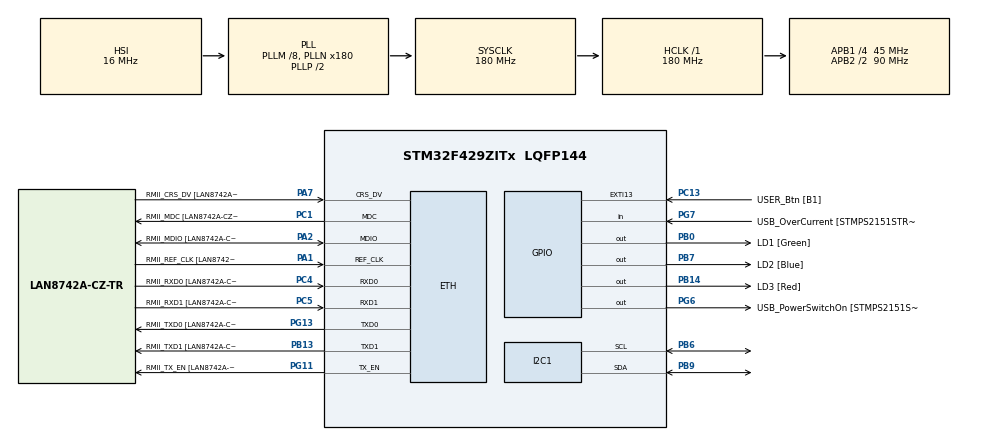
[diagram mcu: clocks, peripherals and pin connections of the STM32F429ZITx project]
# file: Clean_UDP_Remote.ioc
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ETH.MACAddr=00\:80\:E1\:9E\:5C\:C1
ETH.MediaInterface=ETH_MEDIA_INTERFACE_RMII
ETH.PhyAddress=0
LWIP.Version=v2.1.2_Cube
Mcu.Family=STM32F4
Mcu.Name=STM32F429ZITx
Mcu.Package=LQFP144
NVIC.PriorityGroup=NVIC_PRIORITYGROUP_4
NVIC.TIM8_TRG_COM_TIM14_IRQn=true\:0\:0\:false\:false\:true\:true\:true
PA1.GPIO_Label=RMII_REF_CLK [LAN8742A-CZ-TR_REFCLK0]
PA1.Mode=RMII
PA1.Signal=ETH_REF_CLK
PA10.GPIO_Label=USB_ID
PA10.Signal=USB_OTG_FS_ID
PA11.GPIO_Label=USB_DM
PA11.Signal=USB_OTG_FS_DM
PA12.GPIO_Label=USB_DP
PA12.Signal=USB_OTG_FS_DP
PA13.GPIO_Label=TMS
PA13.Signal=SYS_JTMS-SWDIO
PA14.GPIO_Label=TCK
PA14.Signal=SYS_JTCK-SWCLK
PA2.GPIO_Label=RMII_MDIO [LAN8742A-CZ-TR_MDIO]
PA2.Mode=RMII
PA2.Signal=ETH_MDIO
PA7.GPIO_Label=RMII_CRS_DV [LAN8742A-CZ-TR_CRS_DV]
PA7.Mode=RMII
PA7.Signal=ETH_CRS_DV
PA8.GPIO_Label=USB_SOF [TP1]
PA8.Signal=USB_OTG_FS_SOF
PA9.GPIO_Label=USB_VBUS
PA9.Signal=USB_OTG_FS_VBUS
PB0.GPIO_Label=LD1 [Green]
PB0.Signal=GPIO_Output
PB13.GPIO_Label=RMII_TXD1 [LAN8742A-CZ-TR_TXD1]
PB13.Mode=RMII
PB13.Signal=ETH_TXD1
PB14.GPIO_Label=LD3 [Red]
PB14.Signal=GPIO_Output
PB6.Mode=I2C
PB6.Signal=I2C1_SCL
PB7.GPIO_Label=LD2 [Blue]
PB7.Signal=GPIO_Output
PB9.Mode=I2C
PB9.Signal=I2C1_SDA
PC1.GPIO_Label=RMII_MDC [LAN8742A-CZ-TR_MDC]
PC1.Mode=RMII
PC1.Signal=ETH_MDC
PC13.GPIO_Label=USER_Btn [B1]
PC13.Signal=GPXTI13
PC14/OSC32_IN.Signal=RCC_OSC32_IN
PC15/OSC32_OUT.Signal=RCC_OSC32_OUT
PC4.GPIO_Label=RMII_RXD0 [LAN8742A-CZ-TR_RXD0]
PC4.Mode=RMII
PC4.Signal=ETH_RXD0
PC5.GPIO_Label=RMII_RXD1 [LAN8742A-CZ-TR_RXD1]
PC5.Mode=RMII
PC5.Signal=ETH_RXD1
PD8.GPIO_Label=STLK_RX [STM32F103CBT6_PA3]
PD8.Signal=USART3_TX
PD9.GPIO_Label=STLK_TX [STM32F103CBT6_PA2]
PD9.Signal=USART3_RX
PG11.GPIO_Label=RMII_TX_EN [LAN8742A-CZ-TR_TXEN]
PG11.Mode=RMII
PG11.Signal=ETH_TX_EN
PG13.GPIO_Label=RMII_TXD0 [LAN8742A-CZ-TR_TXD0]
PG13.Mode=RMII
PG13.Signal=ETH_TXD0
PG6.GPIO_Label=USB_PowerSwitchOn [STMPS2151STR_EN]
PG6.Signal=GPIO_Output
PG7.GPIO_Label=USB_OverCurrent [STMPS2151STR_FAULT]
PG7.Signal=GPIO_Input
PH0/OSC_IN.GPIO_Label=MCO [STM32F103CBT6_PA8]
PH0/OSC_IN.Signal=RCC_OSC_IN
PH1/OSC_OUT.Signal=RCC_OSC_OUT
ProjectManager.HeapSize=0x200
ProjectManager.StackSize=0x400
ProjectManager.TargetToolchain=STM32CubeIDE
RCC.48MHZClocksFreq_Value=90000000
RCC.AHBFreq_Value=180000000
RCC.APB1CLKDivider=RCC_HCLK_DIV4
RCC.APB1Freq_Value=45000000
RCC.APB1TimFreq_Value=90000000
RCC.APB2CLKDivider=RCC_HCLK_DIV2
RCC.APB2Freq_Value=90000000
RCC.APB2TimFreq_Value=180000000
RCC.CortexFreq_Value=180000000
RCC.HCLKFreq_Value=180000000
RCC.HSE_VALUE=8000000
RCC.HSI_VALUE=16000000
RCC.LSE_VALUE=32768
RCC.PLLM=8
RCC.PLLMUL=RCC_PLL_MUL9
RCC.PLLN=180
RCC.PRESCALERUSB=RCC_USBCLKSOURCE_PLL_DIV1_5
RCC.SYSCLKFreq_VALUE=180000000
RCC.SYSCLKSource=RCC_SYSCLKSOURCE_PLLCLK
RCC.SYSCLKSourceVirtual=RCC_SYSCLKSOURCE_PLLCLK
RCC.USBFreq_Value=48000000
RCC.VCOOutputFreq_Value=360000000
TIM14.Period=9000 - 1
TIM14.Prescaler=10000 - 1
VP_LWIP_VS_Enabled.Mode=Enabled
VP_TIM14_VS_ClockSourceINT.Mode=Enable_Timer
board=NUCLEO-F429ZI

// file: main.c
/* USER CODE BEGIN Header */
/**
  ******************************************************************************
  * @file           : main.c
  * @brief          : Main program body
  ******************************************************************************
  * @attention
  *
  * <h2><center>&copy; Copyright (c) 2021 STMicroelectronics.
  * All rights reserved.</center></h2>
  *
  * This software component is licensed by ST under BSD 3-Clause license,
  * the "License"; You may not use this file except in compliance with the
  * License. You may obtain a copy of the License at:
  *                        opensource.org/licenses/BSD-3-Clause
  *
  ******************************************************************************
  */

/*	Program flow
 *	1 - initialize -> ~15s
 *  2 - enter infinite loop
 *  3 - go into sleep
 *  4 - wake up after 1s and do task
 *  5 - back to 3
 */

/* USER CODE END Header */
#include "main.h"
#include "i2c.h"
#include "lwip.h"
#include "tim.h"
#include "gpio.h"

/* USER CODE BEGIN Includes */

#include "SVM30.h"
#include <string.h>
/* USER CODE END Includes */

/* USER CODE BEGIN PM */
#define i2cDevice hi2c1
#define remote_port 61111
#define payload_size 30
/* USER CODE END PM */

/* USER CODE BEGIN PV */
extern struct netif gnetif;
char buffer_UDP[40] = {0};							//UDP packet buffer
struct pbuf *pbufPtr = NULL;						//packet buffer pointer
struct udp_pcb *pcbPtr = NULL;						//pcb pointer
struct ip4_addr ipaddr_remote_struct;				//message destination

float RH = 99;										//variable for each type of reading
float Temp = 99;									//
uint16_t TVOC = 999;								//
uint16_t CO2eq = 999;								//
uint8_t buffer_Sensor[8];							//buffer for I2C comm. w/ sensor

/* USER CODE END PV */

void SystemClock_Config(void);
/* USER CODE BEGIN PFP */
void doTasks(struct pbuf *pbufPtr);					//per timer interrupt
													//send calibration command
													//get measurements
													//send data through UDP
void sendDataUDP(struct udp_pcb *pcbPtr, struct pbuf *pbufPtr, char *buffer, uint8_t size);		//load buffer content onto pbuf
																								//send data
/* USER CODE END PFP */

int main(void)
{

  /* MCU Configuration--------------------------------------------------------*/

  /* Reset of all peripherals, Initializes the Flash interface and the Systick. */
  HAL_Init();

  /* Configure the system clock */
  SystemClock_Config();

  /* Initialize all configured peripherals */
  MX_GPIO_Init();
  MX_I2C1_Init();
  MX_TIM14_Init();
  MX_LWIP_Init();
  /* USER CODE BEGIN 2 */

  if (netif_is_link_up(&gnetif))						//check ethernet cable connection
  {
    HAL_GPIO_WritePin(GPIOB, GPIO_PIN_0, GPIO_PIN_SET);	//connected -> red
  }

  IP4_ADDR(&ipaddr_remote_struct, 10, 183, 93, 17);		//set up remote ip

  pcbPtr = udp_new();
  pbufPtr = pbuf_alloc(PBUF_TRANSPORT, payload_size, PBUF_RAM);

  udp_connect(pcbPtr, &ipaddr_remote_struct, remote_port);	//connect to remote ip
  	  	  	  	  	  	  	  	  	  	  	  	  	  	//random port number
  initAQ(buffer_Sensor, i2cDevice);						//initialize air quality measurement
  HAL_Delay(15000);										//wait until sensor ready

  HAL_TIM_Base_Start_IT(&htim14);						//start timer in interrupt mode

  /* USER CODE END 2 */

  /* Infinite loop */
  /* USER CODE BEGIN WHILE */
  while (1)
  {
	  MX_LWIP_Process();								//------------------------

	  HAL_SuspendTick();								//prevent SysTick-triggered wake-up
	  __WFI();											//enter sleep mode
	  	  	  	  	  	  	  	  	  	  	  	  	  	//timer interrupt triggers wake-up
	  HAL_ResumeTick();
	  HAL_GPIO_TogglePin (GPIOB, GPIO_PIN_14);			//LD3

	  doTasks(pbufPtr);
    /* USER CODE END WHILE */

  }
}

void SystemClock_Config(void)
{
  RCC_OscInitTypeDef RCC_OscInitStruct = {0};
  RCC_ClkInitTypeDef RCC_ClkInitStruct = {0};

  /** Configure the main internal regulator output voltage
  */
  __HAL_RCC_PWR_CLK_ENABLE();
  __HAL_PWR_VOLTAGESCALING_CONFIG(PWR_REGULATOR_VOLTAGE_SCALE1);
  /** Initializes the RCC Oscillators according to the specified parameters
  * in the RCC_OscInitTypeDef structure.
  */
  RCC_OscInitStruct.OscillatorType = RCC_OSCILLATORTYPE_HSI;
  RCC_OscInitStruct.HSIState = RCC_HSI_ON;
  RCC_OscInitStruct.HSICalibrationValue = RCC_HSICALIBRATION_DEFAULT;
  RCC_OscInitStruct.PLL.PLLState = RCC_PLL_ON;
  RCC_OscInitStruct.PLL.PLLSource = RCC_PLLSOURCE_HSI;
  RCC_OscInitStruct.PLL.PLLM = 8;
  RCC_OscInitStruct.PLL.PLLN = 180;
  RCC_OscInitStruct.PLL.PLLP = RCC_PLLP_DIV2;
  RCC_OscInitStruct.PLL.PLLQ = 4;
  if (HAL_RCC_OscConfig(&RCC_OscInitStruct) != HAL_OK)
  {
    Error_Handler();
  }
  /** Activate the Over-Drive mode
  */
  if (HAL_PWREx_EnableOverDrive() != HAL_OK)
  {
    Error_Handler();
  }
  /** Initializes the CPU, AHB and APB buses clocks
  */
  RCC_ClkInitStruct.ClockType = RCC_CLOCKTYPE_HCLK|RCC_CLOCKTYPE_SYSCLK
                              |RCC_CLOCKTYPE_PCLK1|RCC_CLOCKTYPE_PCLK2;
  RCC_ClkInitStruct.SYSCLKSource = RCC_SYSCLKSOURCE_PLLCLK;
  RCC_ClkInitStruct.AHBCLKDivider = RCC_SYSCLK_DIV1;
  RCC_ClkInitStruct.APB1CLKDivider = RCC_HCLK_DIV4;
  RCC_ClkInitStruct.APB2CLKDivider = RCC_HCLK_DIV2;

  if (HAL_RCC_ClockConfig(&RCC_ClkInitStruct, FLASH_LATENCY_5) != HAL_OK)
  {
    Error_Handler();
  }
}

/* USER CODE BEGIN 4 */

void sendDataUDP(struct udp_pcb *pcbPtr, struct pbuf *pbufPtr, char *buffer, uint8_t size){
	pbuf_take(pbufPtr, buffer, size);					//copy data to pbuf ---> change also:pbuf_alloc()
	udp_send(pcbPtr, pbufPtr);
}

void doTasks(struct pbuf *pbufPtr){

	sendMeasureAirQuality(buffer_Sensor, i2cDevice);			//sensor req. to maintain accurate measurements

	Temp = getTemp(buffer_Sensor, i2cDevice);					//get measurements
	RH = getRH(buffer_Sensor, i2cDevice);						//
	CO2eq = getCO2eq(buffer_Sensor, i2cDevice);					//
	TVOC = getTVOC(buffer_Sensor, i2cDevice);					//

	sprintf(buffer_UDP, "%.2fT %.2fRH %uC %uVO", Temp, RH, CO2eq, TVOC);	//separators -> T, RH, C, VO
	sendDataUDP(pcbPtr, pbufPtr, buffer_UDP, payload_size);
}

void HAL_TIM_PeriodElapsedCallback(TIM_HandleTypeDef *htim)
{
  if (htim == &htim14 )										//check timer version
  {
	  HAL_GPIO_TogglePin (GPIOB, GPIO_PIN_7);				//LD2
  }
}

/* USER CODE END 4 */

void Error_Handler(void)
{
}

/************************ (C) COPYRIGHT STMicroelectronics *****END OF FILE****/
